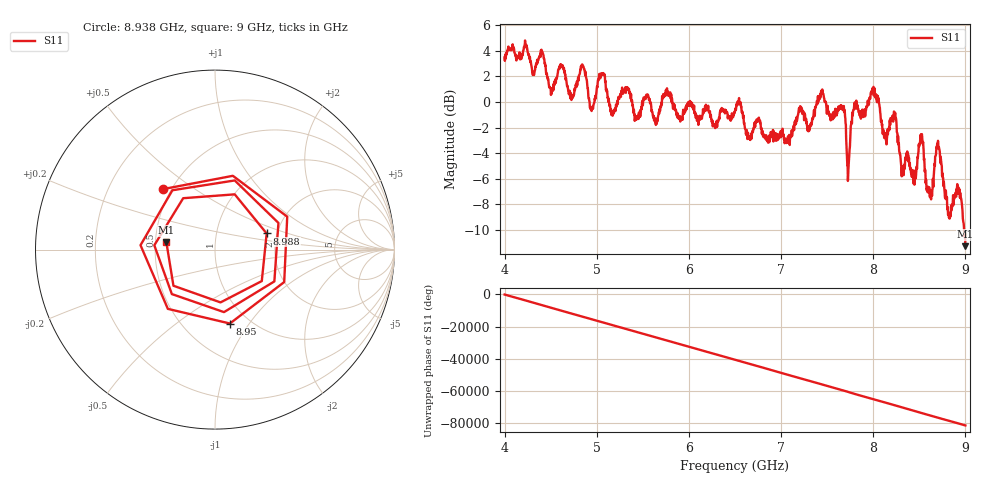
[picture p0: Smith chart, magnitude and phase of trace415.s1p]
! Created with skrf 1.8.0 (http://scikit-rf.org).
# Hz S RI R 50.0
!freq ReS11 ImS11
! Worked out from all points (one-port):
!   1601 points, 4 GHz to 9 GHz, reference 50 ohm
!   lowest |S11| = -11.3 dB at 9 GHz (marker M1), VSWR 1.75, Z = 28.6 + j2.48 ohm
!   |S11| at or under -10 dB: 8.985643 GHz to end of sweep
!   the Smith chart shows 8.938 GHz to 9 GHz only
!   S11 on the Smith chart (normalised r, x): 8.938 GHz: 0.45, +0.38; 8.95 GHz: 0.82, -0.82; 8.988 GHz: 1.76, +0.35; 9 GHz: 0.57, +0.05
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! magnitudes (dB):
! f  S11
! 4 GHz  3.5
! 4.403 GHz  4.0
! 4.506 GHz  0.8
! 4.625 GHz  2.7
! 4.728 GHz  0.5
! 4.853 GHz  2.8
! 4.944 GHz  -0.7
! 5.05 GHz  2.3
! 5.162 GHz  -0.9
! 5.25 GHz  0.5
! 5.875 GHz  -0.9
! 6.5 GHz  -0.7
! 6.656 GHz  -2.8
! 7.125 GHz  -2.3
! 7.444 GHz  0.7
! 7.75 GHz  -3.0
! 7.797 GHz  0.0
! 7.997 GHz  1.0
! 8.375 GHz  -4.3
! 8.444 GHz  -5.6
! 8.522 GHz  -2.6
! 8.616 GHz  -7.4
! 8.703 GHz  -3.0
! 8.822 GHz  -9.0
! 8.938 GHz  -7.0
! 8.95 GHz  -7.5
! 8.988 GHz  -10.4
! 9 GHz  -11.3
